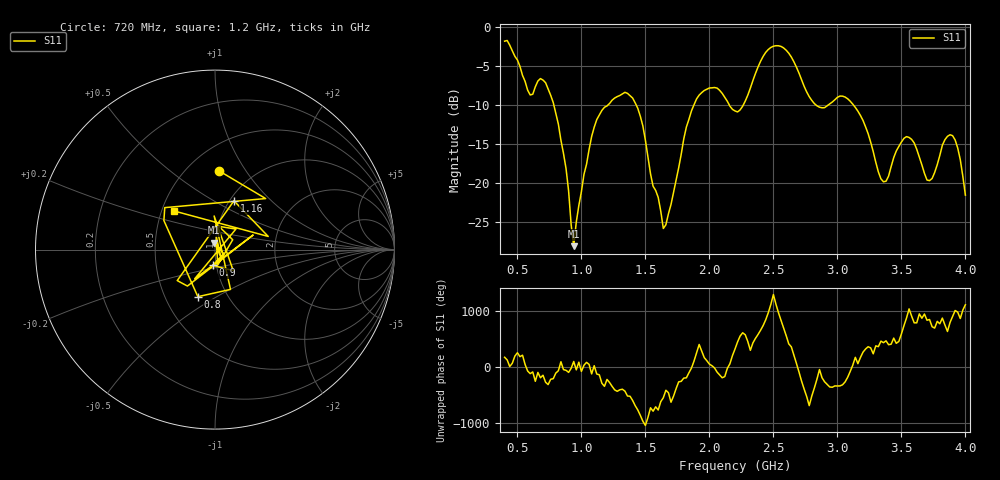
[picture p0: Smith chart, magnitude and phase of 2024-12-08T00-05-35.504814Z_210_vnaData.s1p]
!Created with skrf (http://scikit-rf.org).
# Hz S RI R 50.0
!freq ReS11 ImS11
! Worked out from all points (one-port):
!   181 points, 400 MHz to 4 GHz, reference 50 ohm
!   lowest |S11| = -28.2 dB at 940 MHz (marker M1), VSWR 1.08, Z = 49.5 + j3.85 ohm
!   |S11| at or under -10 dB: 784.4 MHz to 1.208 GHz (423.6 MHz wide, 42.5 % of centre); 1.428 GHz to 1.879 GHz (451.2 MHz wide, 27.3 % of centre); 3.125 GHz to end of sweep (the widest 3 of 5)
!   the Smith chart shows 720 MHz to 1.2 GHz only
!   S11 on the Smith chart (normalised r, x): 720 MHz: 0.70, +0.76; 800 MHz: 0.73, -0.41; 900 MHz: 0.96, -0.17; 1.16 GHz: 1.05, +0.62; 1.2 GHz: 0.58, +0.28
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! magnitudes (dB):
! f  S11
! 400 MHz  -1.8
! 600 MHz  -8.7
! 720 MHz  -7.1
! 800 MHz  -11.1
! 860 MHz  -16.2
! 900 MHz  -21.1
! 940 MHz  -28.2
! 1.08 GHz  -14.1
! 1.16 GHz  -10.7
! 1.2 GHz  -10.1
! 1.3 GHz  -8.8
! 1.44 GHz  -10.4
! 1.64 GHz  -25.9
! 1.76 GHz  -18.1
! 1.82 GHz  -12.8
! 1.92 GHz  -8.7
! 2.06 GHz  -7.8
! 2.2 GHz  -10.8
! 2.46 GHz  -2.9
! 2.66 GHz  -4.4
! 2.84 GHz  -10.1
! 3.1 GHz  -9.5
! 3.36 GHz  -19.9
! 3.56 GHz  -14.2
! 3.72 GHz  -19.7
! 3.9 GHz  -14.0
! 3.96 GHz  -17.0
! 4 GHz  -21.6
